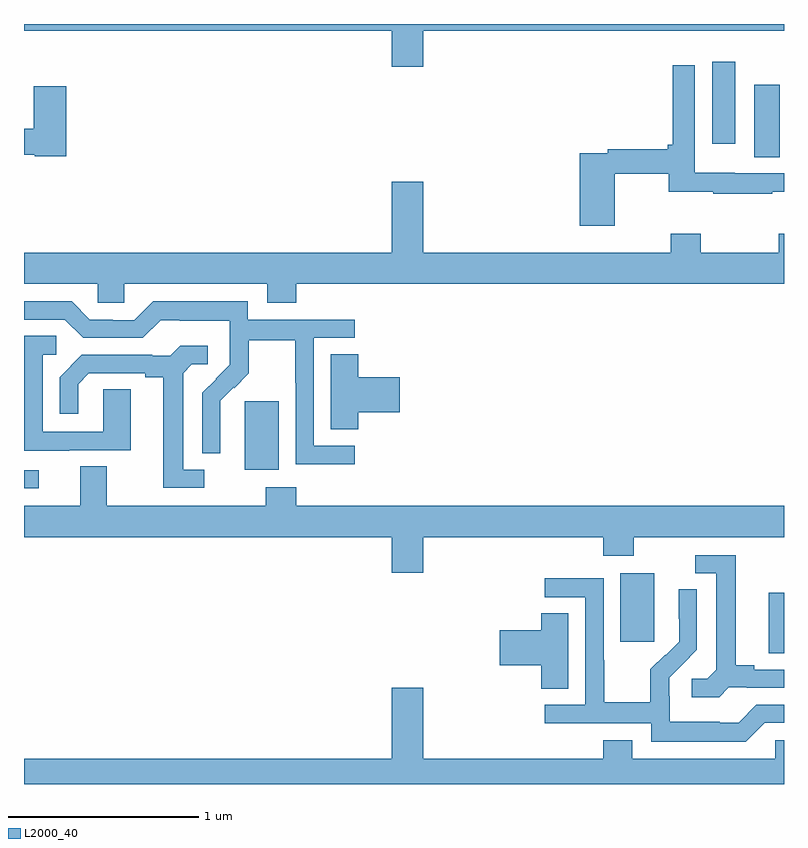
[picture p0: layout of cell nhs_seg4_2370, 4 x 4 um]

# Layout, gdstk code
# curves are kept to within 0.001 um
import gdstk
lib = gdstk.Library(unit=1e-6, precision=1e-09)
def R(c, l, rs):  # rectangles x0, y0, x1, y1
    for r in rs: c.add(gdstk.rectangle(r[:2], r[2:], *l))
def P(c, l, *ps):  # polygons
    for p in ps: c.add(gdstk.Polygon(p, *l))
L2000_40 = (2000, 40)

nhs_seg4_2370 = lib.new_cell('nhs_seg4_2370')
R(nhs_seg4_2370, L2000_40, [(238.919,749.587,239,749.907), (238.139,749.649,238.318,750.01), (235,750.456,235.078,750.552), (236.162,750.554,236.341,750.915), (238.844,752.2,238.978,752.581), (238.622,752.271,238.744,752.701)])
P(nhs_seg4_2370, L2000_40, [(237.1,752.864),(239,752.864),(239,752.9),(235,752.9),(235,752.864),(236.936,752.864),(236.936,752.676),(237.1,752.676)],
  [(238.109,752.112),(238.393,752.112),(238.393,752.017),(238.627,752.017),(238.627,752.007),(238.937,752.007),(238.937,752.017),(239,752.017),(239,752.115),(238.74,752.115),(238.74,752.116),(238.53,752.116),(238.53,752.683),(238.414,752.683),(238.414,752.264),(238.388,752.264),(238.388,752.24),(238.072,752.24),(238.072,752.22),(237.926,752.22),(237.926,751.839),(238.109,751.839)],
  [(235.223,752.572),(235.052,752.572),(235.052,752.348),(235,752.348),(235,752.212),(235.056,752.212),(235.056,752.204),(235.223,752.204)],
  [(235,751.532),(235.389,751.532),(235.389,751.434),(235.527,751.434),(235.527,751.532),(236.279,751.532),(236.279,751.433),(236.432,751.433),(236.432,751.532),(239,751.532),(239,751.795),(238.972,751.795),(238.972,751.696),(238.563,751.696),(238.563,751.795),(238.403,751.795),(238.403,751.696),(237.1,751.696),(237.1,752.071),(236.936,752.071),(236.936,751.696),(235,751.696)],
  [(236.74,750.681),(236.526,750.681),(236.526,751.248),(236.74,751.248),(236.74,751.344),(236.178,751.344),(236.178,751.441),(235.681,751.441),(235.581,751.341),(235.466,751.341),(235.466,751.344),(235.347,751.344),(235.251,751.44),(235,751.44),(235,751.344),(235.215,751.344),(235.311,751.248),(235.626,751.248),(235.719,751.341),(235.819,751.341),(235.819,751.337),(236.082,751.337),(236.082,751.203),(236.084,751.203),(236.084,751.106),(235.938,750.958),(235.938,750.64),(236.034,750.64),(236.033,750.917),(236.103,750.987),(236.106,750.984),(236.183,751.061),(236.183,751.236),(236.428,751.236),(236.428,751.012),(236.43,751.012),(236.43,750.583),(236.74,750.583)],
  [(235.237,750.657),(235.561,750.657),(235.561,750.977),(235.416,750.977),(235.416,750.753),(235.098,750.753),(235.098,751.158),(235.171,751.158),(235.171,751.259),(235.002,751.259),(235.002,750.843),(235,750.843),(235,750.653),(235.237,750.653)],
  [(235.948,750.555),(235.837,750.555),(235.837,751.063),(235.884,751.11),(235.966,751.11),(235.966,751.207),(235.822,751.207),(235.77,751.155),(235.676,751.155),(235.676,751.158),(235.304,751.158),(235.188,751.042),(235.188,750.849),(235.285,750.849),(235.285,751.005),(235.342,751.062),(235.637,751.062),(235.637,751.04),(235.733,751.04),(235.733,750.459),(235.948,750.459)],
  [(236.759,750.857),(236.977,750.857),(236.977,751.04),(236.759,751.04),(236.759,751.163),(236.615,751.163),(236.615,750.766),(236.759,750.766)],
  [(237.1,750.2),(238.049,750.2),(238.049,750.101),(238.209,750.101),(238.209,750.2),(239,750.2),(239,750.364),(236.432,750.364),(236.432,750.463),(236.272,750.463),(236.272,750.364),(235.435,750.364),(235.435,750.572),(235.295,750.572),(235.295,750.364),(235,750.364),(235,750.2),(236.936,750.2),(236.936,750.012),(237.1,750.012)],
  [(238.71,749.409),(238.804,749.409),(238.804,749.406),(239,749.406),(239,749.502),(238.843,749.502),(238.843,749.525),(238.747,749.525),(238.747,750.105),(238.533,750.105),(238.533,750.009),(238.643,750.009),(238.643,749.501),(238.596,749.454),(238.515,749.454),(238.515,749.357),(238.658,749.357)],
  [(238.899,749.223),(239,749.223),(239,749.316),(238.854,749.316),(238.761,749.223),(238.661,749.223),(238.661,749.227),(238.398,749.227),(238.398,749.361),(238.396,749.361),(238.396,749.458),(238.542,749.606),(238.542,749.924),(238.446,749.924),(238.446,749.77),(238.448,749.77),(238.448,749.648),(238.377,749.577),(238.374,749.58),(238.297,749.503),(238.297,749.329),(238.053,749.329),(238.053,749.552),(238.05,749.552),(238.05,749.982),(237.741,749.982),(237.741,749.883),(237.954,749.883),(237.954,749.316),(237.741,749.316),(237.741,749.22),(238.302,749.22),(238.302,749.123),(238.799,749.123)],
  [(237.865,749.798),(237.722,749.798),(237.722,749.708),(237.504,749.708),(237.504,749.525),(237.722,749.525),(237.722,749.401),(237.865,749.401)],
  [(239,749.13),(238.953,749.13),(238.953,749.032),(238.201,749.032),(238.201,749.131),(238.049,749.131),(238.049,749.032),(237.1,749.032),(237.1,749.407),(236.936,749.407),(236.936,749.032),(235,749.032),(235,748.9),(239,748.9)])

lib.write_gds('nhs_seg4_2370.gds')
